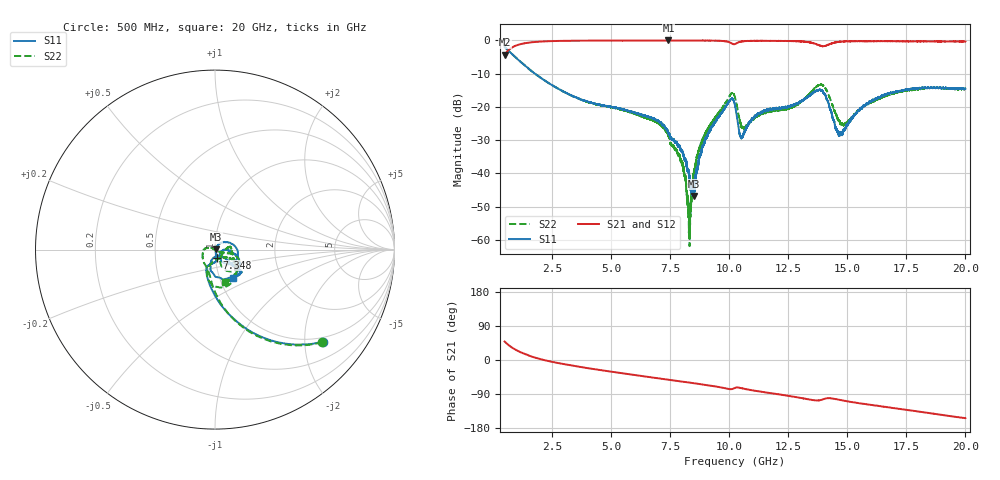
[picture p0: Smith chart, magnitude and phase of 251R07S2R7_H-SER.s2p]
!{201R07S2R7}
!Johanson Technology Inc.
!www.johansontechnology.com
!Test Board Conditions:
!Substrate Type  RO4350B
!Substrate Thickness  10 mil
!Substrate Dk  3.66
!TL Type: GCPW
!TL Trace Width  21 mil
!TL Gap  20 mil
!Electrode orientation  Horizontal
!DUT TOPOLOGY	SERIES
!Mounting Pad LxW  16x21 mil
!Agilent Technologies,N5230A,MY45001966,A.07.50.67
!Agilent N5230A: A.07.50.67
! Created Mon Mar  9 16:28:02 2020
# mhz S ma R 50
! 2 Port Network Data from SP1.SP block
! freq  magS11  angS11  magS21  angS21  magS12  angS12  magS22  angS22
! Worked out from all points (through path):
!   19501 points, 500 MHz to 20 GHz, reference 50 ohm
!   highest |S21| = -0.08 dB at 7.435 GHz (marker M1); lowest = -4.4 dB at 500 MHz (marker M2)
!   group delay of S21, straight-line fit = 24 ps
!   lowest |S11| = -46.7 dB at 8.508 GHz (marker M3), VSWR 1.01, Z = 50.4 + j0.16 ohm
!   |S11| at or under -10 dB: 1.771783 GHz to 1.772833 GHz (1.051 MHz wide, 0.0593 % of centre); 1.773 GHz to end of sweep
!   |S22| runs from -61.8 to -2.0 dB; largest |S21 - S12| = 0.014
!   S11 on the Smith chart (normalised r, x): 500 MHz: 0.89, -2.44; 7.348 GHz: 1.01, -0.09; 20 GHz: 1.15, -0.38
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500  0.7914 -40.4  0.6033 48.8  0.6039 48.9  0.7906 -40.8
1598  0.3527 -79.3  0.9266 10.1  0.9268 10.1  0.3543 -79.0
3750  0.1284 -112.2  0.983 -18.8  0.9837 -18.8  0.127 -106.3
7000  0.06134 -83.5  0.989 -48.4  0.9891 -48.4  0.05682 174.5
7348  0.04584 -78.4  0.989 -51.4  0.9894 -51.4  0.04186 167.1
7435  0.04036 -75.6  0.9911 -52.1  0.9901 -52.1  0.03646 166.5
7991  0.02127 -75.5  0.9894 -56.8  0.9895 -56.9  0.01456 155.3
8306  0.01045 -65.9  0.9884 -59.6  0.9901 -59.5  0.00199 -164.3
8382  0.005763 -46.3  0.9887 -60.2  0.9897 -60.2  0.003094 -53.7
8508  0.004606 20.2  0.9892 -61.3  0.9894 -61.3  0.01016 -31.9
8806  0.01929 57.0  0.9886 -63.9  0.9881 -64.0  0.02776 -27.5
9181  0.04334 53.0  0.9854 -67.5  0.9854 -67.5  0.05178 -22.1
10047  0.1268 -4.1  0.9191 -77.0  0.918 -77.0  0.1502 -26.4
10250  0.1062 -49.5  0.8767 -73.5  0.8763 -73.5  0.1386 -59.6
10541  0.03452 -25.1  0.9597 -74.6  0.957 -74.6  0.04833 -43.9
11288  0.07926 -5.2  0.9805 -83.0  0.9781 -82.9  0.07645 11.3
13500  0.1561 -27.9  0.9177 -105.5  0.9132 -105.6  0.1703 -47.1
14018  0.1582 -81.9  0.8171 -102.9  0.8151 -103.2  0.2026 -91.4
14710  0.04014 -73.8  0.9499 -105.7  0.9472 -105.5  0.0559 -84.3
15631  0.0956 -41.1  0.9673 -115.4  0.9618 -114.9  0.09832 -29.0
16750  0.157 -39.0  0.9715 -124.9  0.9638 -125.1  0.1513 -37.2
20000  0.1874 -58.3  0.9573 -153.6  0.9594 -153.5  0.1882 -72.4
